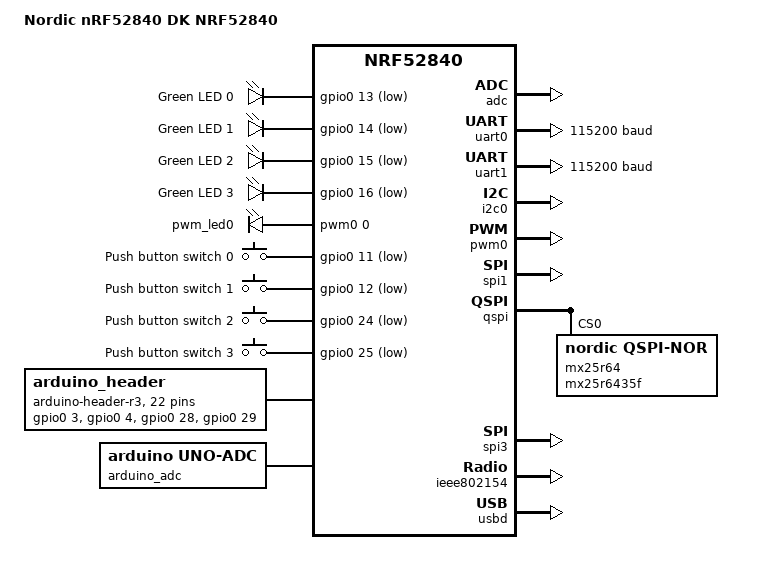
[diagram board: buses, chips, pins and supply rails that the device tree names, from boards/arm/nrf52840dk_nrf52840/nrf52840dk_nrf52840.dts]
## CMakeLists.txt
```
cmake_minimum_required(VERSION 3.20.0)


set(BOARD_ROOT ${CMAKE_CURRENT_SOURCE_DIR})
set(COMMON_PATH "C:/ncs/v2.4.2/modules/hal/nordic/nrfx/samples/common")
# include(${COMMON_PATH}/common.cmake)

# GET_DEVICE_CONFIG_FILES(${BOARD} boards)

find_package(Zephyr REQUIRED HINTS $ENV{ZEPHYR_BASE})
project(nrfx_example)

target_sources(app PRIVATE src/main.c 
                           src/BLE/BleHandler.c
						   src/BLE/BleService.c
                           src/UartHandler/UartHandler.c
                           src/PacketHandler/PacketHandler.c
                           src/System/SystemHandler.c
                           src/NFC/Nfc.c
                           "C:/ncs/v2.4.2/modules/hal/nordic/nrfx/samples/src/nrfx_saadc/common/saadc_examples_common.c")
target_include_directories(app PRIVATE src/BLE
                                       src/UartHandler
                                       src/PacketHandler
                                       src/System
                                       src/NFC
                                       ${COMMON_PATH} "C:/ncs/v2.4.2/modules/hal/nordic/nrfx/samples/src/nrfx_saadc/common")
```

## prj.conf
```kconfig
CONFIG_ADC=y
CONFIG_ADC_ASYNC=y
CONFIG_GPIO=y
CONFIG_STDOUT_CONSOLE=y
CONFIG_PRINTK=y
CONFIG_PWM=y
CONFIG_LOG_PRINTK=y
CONFIG_LOG_MODE_IMMEDIATE=y
CONFIG_PWM_LOG_LEVEL_DBG=y
CONFIG_NEWLIB_LIBC=y
CONFIG_ADC_NRFX_SAADC=y
CONFIG_NRFX_SAADC=y
CONFIG_LOG=y
CONFIG_PM=y
CONFIG_PM_DEVICE=y
#CONFIG_TRACING_SYSCALL=y

#For enabling the definitionns of MTU exchange functions
CONFIG_BT_GATT_CLIENT=y
CONFIG_BT_BUF_EVT_RX_COUNT=5
CONFIG_BT=y
CONFIG_BT_PERIPHERAL=y
CONFIG_BT_DEVICE_NAME="Pet Tap"
CONFIG_BT_CTLR_ADV_EXT=y
CONFIG_BT_EXT_ADV=y
CONFIG_BT_CTLR_ADV_DATA_LEN_MAX=225
CONFIG_BT_USER_DATA_LEN_UPDATE=y
CONFIG_BT_USER_PHY_UPDATE=y
CONFIG_BT_GAP_AUTO_UPDATE_CONN_PARAMS=n
CONFIG_HEAP_MEM_POOL_SIZE=2048
CONFIG_BT_BUF_ACL_RX_SIZE=498
CONFIG_BT_ATT_PREPARE_COUNT=2
CONFIG_BT_L2CAP_TX_MTU=494

CONFIG_BT_BUF_ACL_TX_COUNT=10
CONFIG_BT_BUF_ACL_TX_SIZE=498
CONFIG_BT_AUTO_PHY_UPDATE=y
CONFIG_BT_CTLR_DATA_LENGTH_MAX=251
CONFIG_LOG_DEFAULT_LEVEL=3

#uart interept
CONFIG_UART_INTERRUPT_DRIVEN=y
CONFIG_UART_USE_RUNTIME_CONFIGURE=y

CONFIG_MAIN_STACK_SIZE=2048

# CONFIG_HEAP_MEM_POOL_SIZE=5120


CONFIG_PM=y
CONFIG_PM_DEVICE=y
#CONFIG_TRACING_SYSCALL=y

CONFIG_NCS_SAMPLES_DEFAULTS=y

CONFIG_REBOOT=y
CONFIG_DK_LIBRARY=y

CONFIG_NFC_T2T_NRFXLIB=y

CONFIG_NFC_NDEF=y
CONFIG_NFC_NDEF_MSG=y
CONFIG_NFC_NDEF_RECORD=y
CONFIG_NFC_NDEF_URI_REC=y
CONFIG_NFC_NDEF_LAUNCHAPP_MSG=y
```

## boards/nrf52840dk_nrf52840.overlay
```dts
/*
 * SPDX-License-Identifier: Apache-2.0
 *
 * Copyright (c) 2022 Nordic Semiconductor ASA
 */
// #include "serial_overlay.dtsi"

/ {
	zephyr,user {
		io-channels = <&adc 0>, <&adc 1>, <&adc 7>;
	};
};

&adc {
	#address-cells = <1>;
	#size-cells = <0>;

	channel@0 {
		reg = <0>;
		zephyr,gain = "ADC_GAIN_1_6";
		zephyr,reference = "ADC_REF_INTERNAL";
		zephyr,acquisition-time = <ADC_ACQ_TIME_DEFAULT>;
		zephyr,input-positive = <NRF_SAADC_AIN1>; /* P0.03 */
		zephyr,resolution = <12>;
	};

	channel@1 {
		reg = <1>;
		zephyr,gain = "ADC_GAIN_1_6";
		zephyr,reference = "ADC_REF_INTERNAL";
		zephyr,acquisition-time = <ADC_ACQ_TIME_DEFAULT>;
		zephyr,input-positive = <NRF_SAADC_VDD>;
		zephyr,resolution = <14>;
		zephyr,oversampling = <8>;
	};

	channel@7 {
		reg = <7>;
		zephyr,gain = "ADC_GAIN_1_5";
		zephyr,reference = "ADC_REF_VDD_1_4";
		zephyr,vref-mv = <750>;
		zephyr,acquisition-time = <ADC_ACQ_TIME_DEFAULT>;
		zephyr,input-positive = <NRF_SAADC_AIN6>; /* P0.30 */
		zephyr,input-negative = <NRF_SAADC_AIN7>; /* P0.31 */
		zephyr,resolution = <12>;
	};
};

&arduino_adc {
	io-channel-map = <0 &adc 1>;
};


&i2c0 { /* SDA P0.26, SCL P0.27 */
	status = "okay";
	ds3231: ds3231@68 {
		compatible = "maxim,ds3231";
		reg = <0x68>;
		isw-gpios = <&gpio0 0 (GPIO_PULL_UP | GPIO_ACTIVE_LOW)>;
	};

};

&qspi {
	status = "disabled";
};


/ {
	leds {
		gpsEnable: gps_enable {
			gpios = <&gpio0 23 GPIO_ACTIVE_LOW>;
		};
	};
};



&pinctrl {
	uart1_default: uart1_default {
		group1 {
			psels = <NRF_PSEL(UART_RX, 1, 0)>;
			bias-pull-up;
		};
		group2 {
			psels = <NRF_PSEL(UART_TX, 0, 24)>;
			/* max. 5mA drive strength: */
			nordic,drive-mode = <NRF_DRIVE_H0D1>;
		};
	};
};
```

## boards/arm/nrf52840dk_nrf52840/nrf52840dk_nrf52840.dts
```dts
/*
 * Copyright (c) 2017 Linaro Limited
 *
 * SPDX-License-Identifier: Apache-2.0
 */

/dts-v1/;
#include <nordic/nrf52840_qiaa.dtsi>
#include "nrf52840dk_nrf52840-pinctrl.dtsi"

/ {
	model = "Nordic nRF52840 DK NRF52840";
	compatible = "nordic,nrf52840-dk-nrf52840";

	chosen {
		zephyr,console = &uart0;
		zephyr,shell-uart = &uart0;
		zephyr,uart-mcumgr = &uart0;
		zephyr,bt-mon-uart = &uart0;
		zephyr,bt-c2h-uart = &uart0;
		zephyr,sram = &sram0;
		zephyr,flash = &flash0;
		zephyr,code-partition = &slot0_partition;
		zephyr,ieee802154 = &ieee802154;
	};

	leds {
		compatible = "gpio-leds";
		led0: led_0 {
			gpios = <&gpio0 13 GPIO_ACTIVE_LOW>;
			label = "Green LED 0";
		};
		led1: led_1 {
			gpios = <&gpio0 14 GPIO_ACTIVE_LOW>;
			label = "Green LED 1";
		};
		led2: led_2 {
			gpios = <&gpio0 15 GPIO_ACTIVE_LOW>;
			label = "Green LED 2";
		};
		led3: led_3 {
			gpios = <&gpio0 16 GPIO_ACTIVE_LOW>;
			label = "Green LED 3";
		};
	};
	
	powerpins {
		testpin0: testpin_0 {
			compatible = "eac,testpin";
			gpios = <&gpio1 11 GPIO_ACTIVE_LOW>;
			status = "okay";
		};
		testpin1: testpin_1 {
			compatible = "eac,testpin";
			gpios = <&gpio1 10 GPIO_ACTIVE_LOW>;
			status = "okay";
		};
		muxinputa: muxinput_a {
			compatible = "eac,testpin";
			gpios = <&gpio1 6 GPIO_ACTIVE_HIGH>;
			status = "okay";
		};
		muxinputb: muxinput_b {
			compatible = "eac,testpin";
			gpios = <&gpio1 7 GPIO_ACTIVE_HIGH>;
			status = "okay";
		};
		muxenable: mux_enable {
			compatible = "eac,testpin";
			gpios = <&gpio1 5 GPIO_ACTIVE_LOW>;
			status = "okay";
		};		
	};
	
	pwmleds {
		compatible = "pwm-leds";
		pwm_led0: pwm_led_0 {
			pwms = <&pwm0 0 PWM_MSEC(20) PWM_POLARITY_INVERTED>;
		};
	};

	buttons {
		compatible = "gpio-keys";
		button0: button_0 {
			gpios = <&gpio0 11 (GPIO_PULL_UP | GPIO_ACTIVE_LOW)>;
			label = "Push button switch 0";
		};
		button1: button_1 {
			gpios = <&gpio0 12 (GPIO_PULL_UP | GPIO_ACTIVE_LOW)>;
			label = "Push button switch 1";
		};
		button2: button_2 {
			gpios = <&gpio0 24 (GPIO_PULL_UP | GPIO_ACTIVE_LOW)>;
			label = "Push button switch 2";
		};
		button3: button_3 {
			gpios = <&gpio0 25 (GPIO_PULL_UP | GPIO_ACTIVE_LOW)>;
			label = "Push button switch 3";
		};
	};

	arduino_header: connector {
		compatible = "arduino-header-r3";
		#gpio-cells = <2>;
		gpio-map-mask = <0xffffffff 0xffffffc0>;
		gpio-map-pass-thru = <0 0x3f>;
		gpio-map = <0 0 &gpio0 3 0>,	/* A0 */
			   <1 0 &gpio0 4 0>,	/* A1 */
			   <2 0 &gpio0 28 0>,	/* A2 */
			   <3 0 &gpio0 29 0>,	/* A3 */
			   <4 0 &gpio0 30 0>,	/* A4 */
			   <5 0 &gpio0 31 0>,	/* A5 */
			   <6 0 &gpio1 1 0>,	/* D0 */
			   <7 0 &gpio1 2 0>,	/* D1 */
			   <8 0 &gpio1 3 0>,	/* D2 */
			   <9 0 &gpio1 4 0>,	/* D3 */
			   <10 0 &gpio1 5 0>,	/* D4 */
			   <11 0 &gpio1 6 0>,	/* D5 */
			   <12 0 &gpio1 7 0>,	/* D6 */
			   <13 0 &gpio1 8 0>,	/* D7 */
			   <14 0 &gpio1 10 0>,	/* D8 */
			   <15 0 &gpio1 11 0>,	/* D9 */
			   <16 0 &gpio1 12 0>,	/* D10 */
			   <17 0 &gpio1 13 0>,	/* D11 */
			   <18 0 &gpio1 14 0>,	/* D12 */
			   <19 0 &gpio1 15 0>,	/* D13 */
			   <20 0 &gpio0 26 0>,	/* D14 */
			   <21 0 &gpio0 27 0>;	/* D15 */
	};

	arduino_adc: analog-connector {
		compatible = "arduino,uno-adc";
		#io-channel-cells = <1>;
		io-channel-map = <0 &adc 1>;	/* A0 = P0.3 = AIN1 */
	};

	/* These aliases are provided for compatibility with samples */
	aliases {
		led0 = &led0;
		led1 = &led1;
		led2 = &led2;
		led3 = &led3;
		pwm-led0 = &pwm_led0;
		testpin0 = &testpin0;
		testpin1 = &testpin1;
		muxinputa = &muxinputa;
		muxinputb  = &muxinputb;
		muxenable = &muxenable;
		sw0 = &button0;
		sw1 = &button1;
		sw2 = &button2;
		sw3 = &button3;
		bootloader-led0 = &led0;
		mcuboot-button0 = &button0;
		mcuboot-led0 = &led0;
		watchdog0 = &wdt0;
		spi-flash0 = &mx25r64;
		//spi-flash1 = &mx66l1g;
	};
};

&adc {
	status = "okay";
};

&gpiote {
	status = "okay";
};

&gpio0 {
	status = "okay";
};

&gpio1 {
	status = "okay";
};

&uart0 {
	compatible = "nordic,nrf-uarte";
	status = "okay";
	current-speed = <115200>;
	pinctrl-0 = <&uart0_default>;
	pinctrl-1 = <&uart0_sleep>;
	pinctrl-names = "default", "sleep";
};

arduino_serial: &uart1 {
	status = "okay";
	current-speed = <115200>;
	pinctrl-0 = <&uart1_default>;
	pinctrl-1 = <&uart1_sleep>;
	pinctrl-names = "default", "sleep";
};

arduino_i2c: &i2c0 {
	compatible = "nordic,nrf-twi";
	status = "okay";
	pinctrl-0 = <&i2c0_default>;
	pinctrl-1 = <&i2c0_sleep>;
	pinctrl-names = "default", "sleep";
};

&i2c1 {
	compatible = "nordic,nrf-twi";
	/* Cannot be used together with spi1. */
	pinctrl-0 = <&i2c1_default>;
	pinctrl-1 = <&i2c1_sleep>;
	pinctrl-names = "default", "sleep";
};

&pwm0 {
	status = "okay";
	pinctrl-0 = <&pwm0_default>;
	pinctrl-1 = <&pwm0_sleep>;
	pinctrl-names = "default", "sleep";
};

&spi0 {
	compatible = "nordic,nrf-spi";
	/* Cannot be used together with i2c0. */
	/* status = "okay"; */
	pinctrl-0 = <&spi0_default>;
	pinctrl-1 = <&spi0_sleep>;
	pinctrl-names = "default", "sleep";
};

&spi1 {
	compatible = "nordic,nrf-spi";
	status = "okay";
	pinctrl-0 = <&spi1_default>;
	pinctrl-1 = <&spi1_sleep>;
	pinctrl-names = "default", "sleep";
};

&spi2 {
	compatible = "nordic,nrf-spi";
	status = "disabled";
	pinctrl-0 = <&spi2_default>;
	pinctrl-1 = <&spi2_sleep>;
	pinctrl-names = "default", "sleep";
};

&qspi {
	status = "okay";
	pinctrl-0 = <&qspi_default>;
	pinctrl-1 = <&qspi_sleep>;
	pinctrl-names = "default", "sleep";
	mx25r64: mx25r6435f@0 {
		compatible = "nordic,qspi-nor";
		reg = <0>;
		/* MX25R64 supports only pp and pp4io */
		writeoc = "pp4io";
		/* MX25R64 supports all readoc options */
		readoc = "read4io";
		sck-frequency = <8000000>;
		jedec-id = [c2 28 17];
		sfdp-bfp = [
			e5 20 f1 ff  ff ff ff 03  44 eb 08 6b  08 3b 04 bb
			ee ff ff ff  ff ff 00 ff  ff ff 00 ff  0c 20 0f 52
			10 d8 00 ff  23 72 f5 00  82 ed 04 cc  44 83 68 44
			30 b0 30 b0  f7 c4 d5 5c  00 be 29 ff  f0 d0 ff ff
		];
		size = <67108864>;
		has-dpd;
		t-enter-dpd = <10000>;
		t-exit-dpd = <35000>;
	};
	// mx66l1g: mx66l1g45g@0 {
	// 	compatible = "nordic,qspi-nor";
	// 	reg = <0>;
	// 	/* MX66L1G supports only pp and pp4io */
	// 	writeoc = "pp4io";
	// 	/* MX66L1G supports all readoc options */
	// 	readoc = "read4io";
	// 	sck-frequency = <8000000>;
	// 	//label = "MX66L1G";
	// 	jedec-id = [c2 20 1b];
	// 	sfdp-bfp = [
	// 		e5 20 fb ff  ff ff ff 3f  44 eb 08 6b  08 3b 04 bb
	// 		fe ff ff ff  ff ff 00 ff  ff ff 44 eb  0c 20 0f 52
	// 		10 d8 00 ff  d6 49 c5 00  82 df 04 e3  44 03 67 38
	// 		30 b0 30 b0  f7 bd d5 5c  4a 9e 29 ff  f0 50 f9 85
	// 	];
	// 	size = <1073741824>;
	// };	
};

arduino_spi: &spi3 {
	status = "okay";
	cs-gpios = <&arduino_header 16 GPIO_ACTIVE_LOW>; /* D10 */
	pinctrl-0 = <&spi3_default>;
	pinctrl-1 = <&spi3_sleep>;
	pinctrl-names = "default", "sleep";
};

&ieee802154 {
	status = "okay";
};

&flash0 {

	partitions {
		compatible = "fixed-partitions";
		#address-cells = <1>;
		#size-cells = <1>;

		boot_partition: partition@0 {
			label = "mcuboot";
			reg = <0x00000000 0x0000C000>;
		};
		slot0_partition: partition@c000 {
			label = "image-0";
			reg = <0x0000C000 0x00076000>;
		};
		slot1_partition: partition@82000 {
			label = "image-1";
			reg = <0x00082000 0x00076000>;
		};

		/*
		 * The flash starting at 0x000f8000 and ending at
		 * 0x000fffff is reserved for use by the application.
		 */

		/*
		 * Storage partition will be used by FCB/LittleFS/NVS
		 * if enabled.
		 */
		storage_partition: partition@f8000 {
			label = "storage";
			reg = <0x000f8000 0x00008000>;
		};
	};
};

zephyr_udc0: &usbd {
	compatible = "nordic,nrf-usbd";
	status = "okay";
};
```

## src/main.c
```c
/**
 * @file     : main.c
 * @brief    : Application for PetTap BLE services
 * @date     : 15-03-2024
 * @author   : Adhil
 * @note     : None 
*/

/*******************************INCLUDES****************************************/
#include <zephyr/device.h>
#include <zephyr/pm/pm.h>
#include <zephyr/pm/device.h>
#include <zephyr/devicetree.h>
#include <zephyr/drivers/gpio.h>
#include <zephyr/kernel.h>
#include <zephyr/sys/printk.h>
#include <zephyr/sys/util.h>
#include <nrfx_example.h>
#include <saadc_examples_common.h>
#include <nrfx_saadc.h>
#include <nrfx_log.h>
#include <stdlib.h>
#include <stdio.h>
#include "BleHandler.h"
#include "BleService.h"
#include "UartHandler.h"
#include "PacketHandler/PacketHandler.h"
#include "System/SystemHandler.h"
#include "Nfc.h"


/*******************************MACROS****************************************/

/*******************************GLOBAL VARIABLES********************************/

/*******************************FUNCTION DEFINITIONS********************************/
/**
 * @brief      : Main function
 * @param [in] : None
 * @param [out]: None
 * @return     :
*/
int main(void)
{
    int nError;

    if (!EnableBLE())
    {
        printk("Bluetooth init failed (err %d)\n", nError);
        return 0;
    }
    if(!InitUart())
    {
        printk("Failed to init uart module\n\r");
        return 0;
    }

    StartAdvertising();

    NFCSetup();

    Enable9160();


    while(1)
    {
        PollMsgs();
        ProcessDeviceState();
    }

    printk("CRITICAL: Program exit");

    return;
}

//EOF
```
